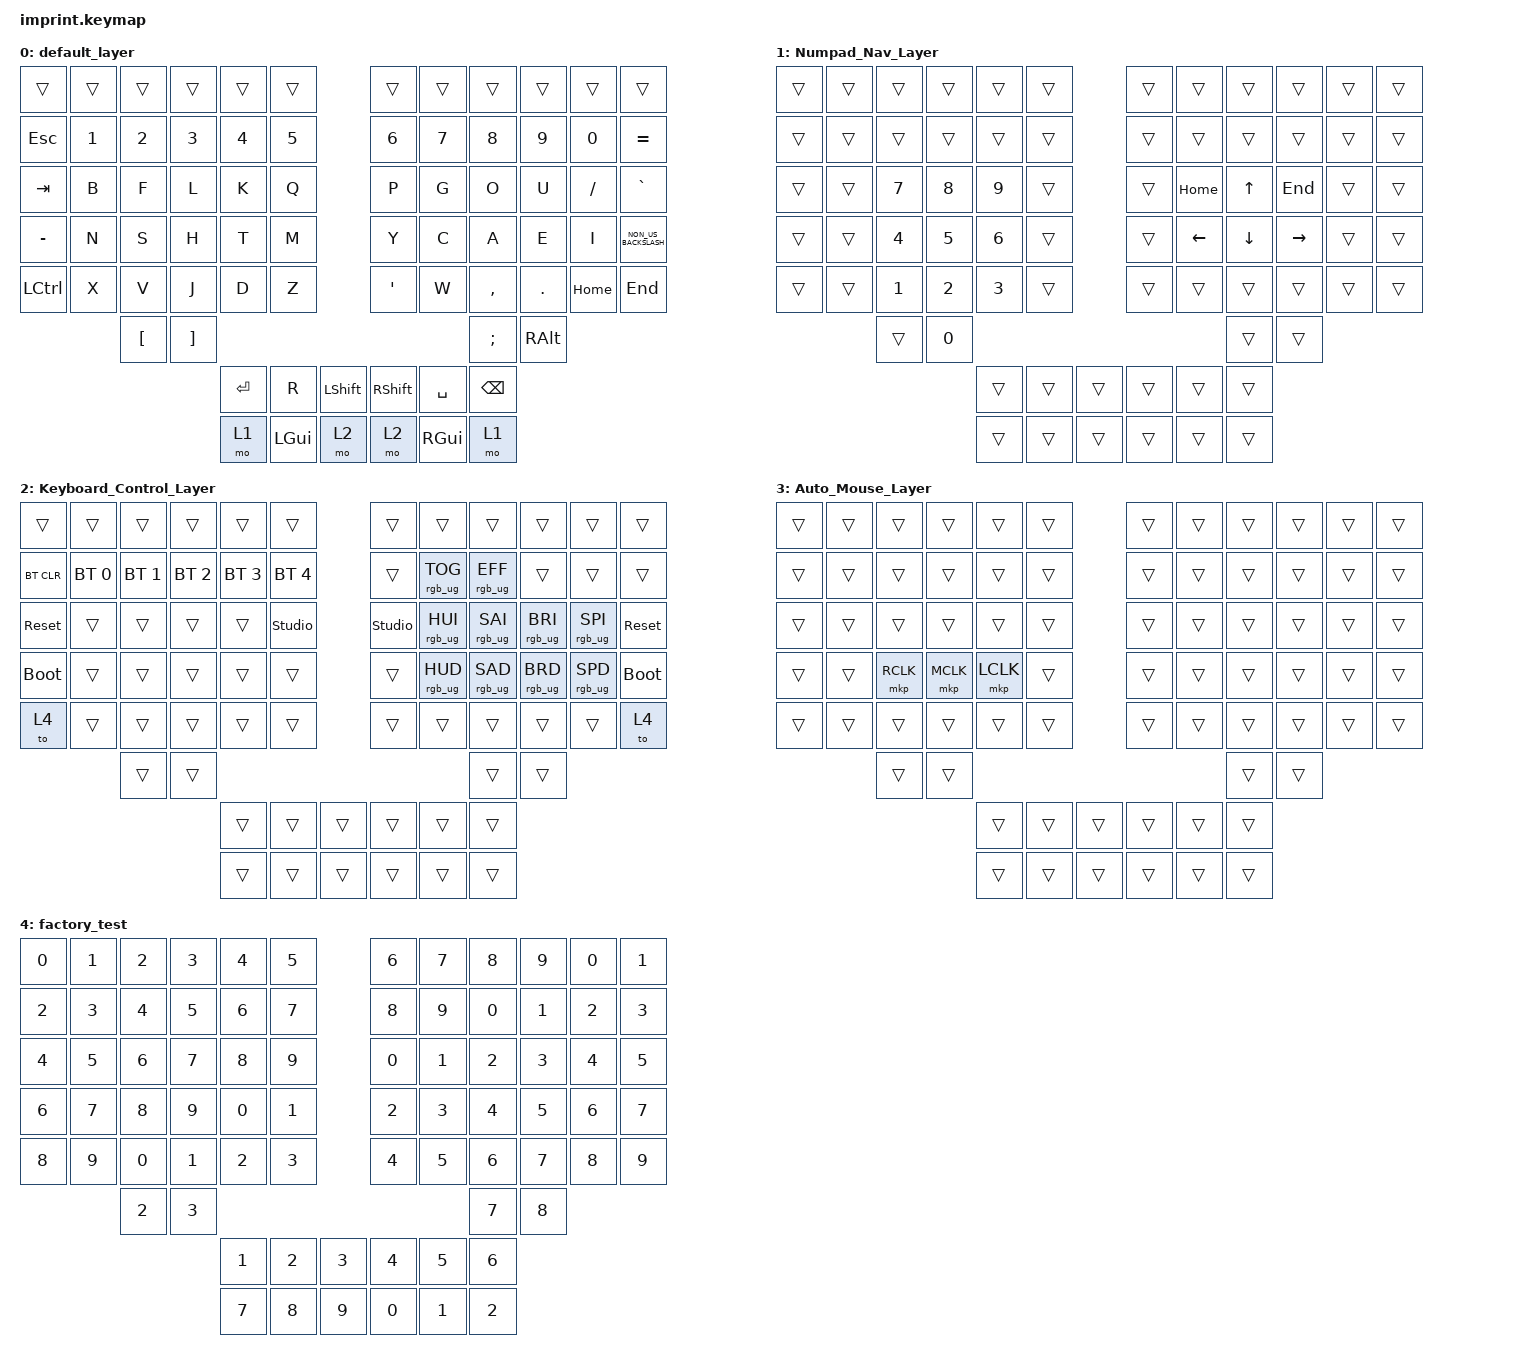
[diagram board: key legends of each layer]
#include <input/processors.dtsi>
#include <dt-bindings/zmk/input_transform.h>
#include <behaviors.dtsi>
#include <dt-bindings/zmk/bt.h>
#include <dt-bindings/zmk/keys.h>
#include <dt-bindings/zmk/pointing.h>
#include <dt-bindings/zmk/rgb.h>

/ {
    chosen { zmk,matrix-transform = &imprint_function_row; };

    keymap {
        compatible = "zmk,keymap";

        default_layer {
            bindings = <
&trans            &trans  &trans            &trans             &trans   &trans                          &trans           &trans         &trans         &trans         &trans     &trans
&kp ESCAPE        &kp N1  &kp N2            &kp N3             &kp N4   &kp N5                          &kp N6           &kp N7         &kp N8         &kp N9         &kp N0     &kp EQUAL
&kp TAB           &kp B   &kp F             &kp L              &kp K    &kp Q                           &kp P            &kp G          &kp O          &kp U          &kp SLASH  &kp GRAVE
&kp MINUS         &kp N   &kp S             &kp H              &kp T    &kp M                           &kp Y            &kp C          &kp A          &kp E          &kp I      &kp NON_US_BACKSLASH
&kp LEFT_CONTROL  &kp X   &kp V             &kp J              &kp D    &kp Z                           &kp SQT          &kp W          &kp COMMA      &kp PERIOD     &kp HOME   &kp END
                          &kp LEFT_BRACKET  &kp RIGHT_BRACKET                                                                           &kp SEMICOLON  &kp RIGHT_ALT
                                                               &kp RET  &kp R         &kp LEFT_SHIFT    &kp RIGHT_SHIFT  &kp SPACE      &kp BACKSPACE
                                                               &mo 1    &kp LEFT_GUI  &mo 2             &mo 2            &kp RIGHT_GUI  &mo 1
            >;
        };

        Numpad_Nav_Layer {
            bindings = <
&trans  &trans  &trans  &trans  &trans  &trans            &trans  &trans    &trans    &trans     &trans  &trans
&trans  &trans  &trans  &trans  &trans  &trans            &trans  &trans    &trans    &trans     &trans  &trans
&trans  &trans  &kp N7  &kp N8  &kp N9  &trans            &trans  &kp HOME  &kp UP    &kp END    &trans  &trans
&trans  &trans  &kp N4  &kp N5  &kp N6  &trans            &trans  &kp LEFT  &kp DOWN  &kp RIGHT  &trans  &trans
&trans  &trans  &kp N1  &kp N2  &kp N3  &trans            &trans  &trans    &trans    &trans     &trans  &trans
                &trans  &kp N0                                              &trans    &trans
                                &trans  &trans  &trans    &trans  &trans    &trans
                                &trans  &trans  &trans    &trans  &trans    &trans
            >;
        };

        Keyboard_Control_Layer {
            bindings = <
&trans       &trans        &trans        &trans        &trans        &trans                    &trans          &trans           &trans           &trans           &trans           &trans
&bt BT_CLR   &bt BT_SEL 0  &bt BT_SEL 1  &bt BT_SEL 2  &bt BT_SEL 3  &bt BT_SEL 4              &trans          &rgb_ug RGB_TOG  &rgb_ug RGB_EFF  &trans           &trans           &trans
&sys_reset   &trans        &trans        &trans        &trans        &studio_unlock            &studio_unlock  &rgb_ug RGB_HUI  &rgb_ug RGB_SAI  &rgb_ug RGB_BRI  &rgb_ug RGB_SPI  &sys_reset
&bootloader  &trans        &trans        &trans        &trans        &trans                    &trans          &rgb_ug RGB_HUD  &rgb_ug RGB_SAD  &rgb_ug RGB_BRD  &rgb_ug RGB_SPD  &bootloader
&to 4        &trans        &trans        &trans        &trans        &trans                    &trans          &trans           &trans           &trans           &trans           &to 4
                           &trans        &trans                                                                                 &trans           &trans
                                                       &trans        &trans          &trans    &trans          &trans           &trans
                                                       &trans        &trans          &trans    &trans          &trans           &trans
            >;
        };

        Auto_Mouse_Layer {
            bindings = <
&trans  &trans  &trans     &trans     &trans     &trans            &trans  &trans  &trans  &trans  &trans  &trans
&trans  &trans  &trans     &trans     &trans     &trans            &trans  &trans  &trans  &trans  &trans  &trans
&trans  &trans  &trans     &trans     &trans     &trans            &trans  &trans  &trans  &trans  &trans  &trans
&trans  &trans  &mkp RCLK  &mkp MCLK  &mkp LCLK  &trans            &trans  &trans  &trans  &trans  &trans  &trans
&trans  &trans  &trans     &trans     &trans     &trans            &trans  &trans  &trans  &trans  &trans  &trans
                &trans     &trans                                                  &trans  &trans
                                      &trans     &trans  &trans    &trans  &trans  &trans
                                      &trans     &trans  &trans    &trans  &trans  &trans
            >;
        };

        factory_test {
            bindings = <
&kp N0  &kp N1  &kp N2  &kp N3  &kp N4  &kp N5            &kp N6  &kp N7  &kp N8  &kp N9  &kp N0  &kp N1
&kp N2  &kp N3  &kp N4  &kp N5  &kp N6  &kp N7            &kp N8  &kp N9  &kp N0  &kp N1  &kp N2  &kp N3
&kp N4  &kp N5  &kp N6  &kp N7  &kp N8  &kp N9            &kp N0  &kp N1  &kp N2  &kp N3  &kp N4  &kp N5
&kp N6  &kp N7  &kp N8  &kp N9  &kp N0  &kp N1            &kp N2  &kp N3  &kp N4  &kp N5  &kp N6  &kp N7
&kp N8  &kp N9  &kp N0  &kp N1  &kp N2  &kp N3            &kp N4  &kp N5  &kp N6  &kp N7  &kp N8  &kp N9
                &kp N2  &kp N3                                            &kp N7  &kp N8
                                &kp N1  &kp N2  &kp N3    &kp N4  &kp N5  &kp N6
                                &kp N7  &kp N8  &kp N9    &kp N0  &kp N1  &kp N2
            >;
        };
    };
};

//right hand trackball configuration

&trackball_peripheral_listener {
    input-processors =
        // this gets it to the default installation orientation,,
        <&zip_xy_transform INPUT_TRANSFORM_XY_SWAP>;

    // activate layer 3 within 500ms of the trackball moving
    // <&zip_temp_layer 3 500>;
};

//left hand trackball configuration

&trackball_central_listener {
    input-processors =
        // this gets it to the default installation orientation,,
        <&zip_xy_transform INPUT_TRANSFORM_XY_SWAP>,
        // multiply sensitivity by 1, divide by 3 (make it slower for scrolling),,
        <&zip_xy_scaler 1 3>,
        // make this trackball output scrolling events by default instead of cursor movement,,
        <&zip_xy_to_scroll_mapper>,
        // invert vertical scrolling so that the view moves in the same direction as the top of the trackball.,,
        <&zip_scroll_transform INPUT_TRANSFORM_Y_INVERT>;
};
